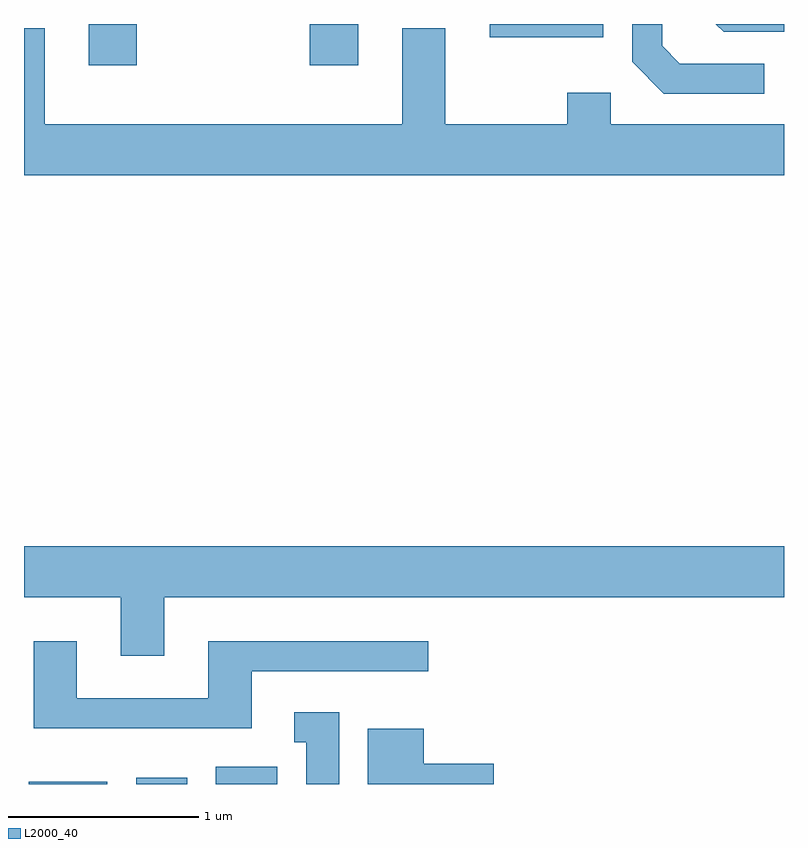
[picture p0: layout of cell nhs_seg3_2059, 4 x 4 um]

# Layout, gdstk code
import gdstk
lib = gdstk.Library(unit=1e-6, precision=1e-09)
def R(c, l, rs):  # rectangles x0, y0, x1, y1
    for r in rs: c.add(gdstk.rectangle(r[:2], r[2:], *l))
def P(c, l, *ps):  # polygons
    for p in ps: c.add(gdstk.Polygon(p, *l))
L2000_40 = (2000, 40)

nhs_seg3_2059 = lib.new_cell('nhs_seg3_2059')
R(nhs_seg3_2059, L2000_40, [(245.636,1153.892,246.049,1153.904), (246.201,1153.892,246.469,1153.924), (246.621,1153.892,246.944,1153.984), (245.951,1157.676,246.204,1157.892), (247.116,1157.676,247.369,1157.892), (248.061,1157.821,248.659,1157.892)])
P(nhs_seg3_2059, L2000_40, [(249.508,1157.684),(249.062,1157.684),(248.969,1157.777),(248.969,1157.892),(248.811,1157.892),(248.811,1157.694),(248.979,1157.526),(249.508,1157.526)],
  [(249.611,1157.892),(249.253,1157.892),(249.294,1157.851),(249.611,1157.851)],
  [(249.611,1157.364),(248.699,1157.364),(248.699,1157.529),(248.471,1157.529),(248.471,1157.364),(247.829,1157.364),(247.829,1157.869),(247.601,1157.869),(247.601,1157.364),(245.719,1157.364),(245.719,1157.869),(245.611,1157.869),(245.611,1157.096),(249.611,1157.096)],
  [(246.349,1154.876),(249.611,1154.876),(249.611,1155.144),(245.611,1155.144),(245.611,1154.876),(246.121,1154.876),(246.121,1154.566),(246.349,1154.566)],
  [(246.809,1154.486),(247.738,1154.486),(247.738,1154.644),(246.581,1154.644),(246.581,1154.344),(245.889,1154.344),(245.889,1154.644),(245.661,1154.644),(245.661,1154.186),(246.809,1154.186)],
  [(247.269,1154.269),(247.033,1154.269),(247.033,1154.111),(247.096,1154.111),(247.096,1153.892),(247.269,1153.892)],
  [(248.084,1153.999),(247.714,1153.999),(247.714,1154.184),(247.421,1154.184),(247.421,1153.892),(248.084,1153.892)])

lib.write_gds('nhs_seg3_2059.gds')
